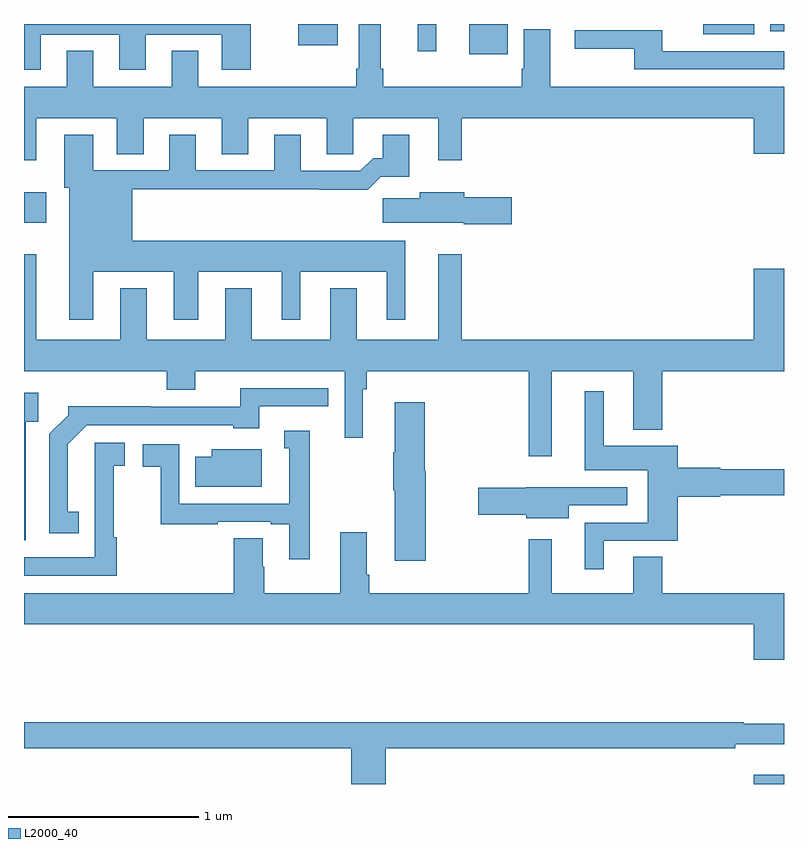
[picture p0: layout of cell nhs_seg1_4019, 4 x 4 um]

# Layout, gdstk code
import gdstk
lib = gdstk.Library(unit=1e-6, precision=1e-09)
def R(c, l, rs):  # rectangles x0, y0, x1, y1
    for r in rs: c.add(gdstk.rectangle(r[:2], r[2:], *l))
def P(c, l, *ps):  # polygons
    for p in ps: c.add(gdstk.Polygon(p, *l))
L2000_40 = (2000, 40)

nhs_seg1_4019 = lib.new_cell('nhs_seg1_4019')
R(nhs_seg1_4019, L2000_40, [(332.84,576.199,333,576.247), (329,579.152,329.116,579.313), (331.344,580.04,331.546,580.199), (331.073,580.056,331.171,580.199), (330.443,580.088,330.652,580.199), (332.576,580.145,332.843,580.199), (332.928,580.16,333,580.199)])
P(nhs_seg1_4019, L2000_40, [(329.089,580.143),(329.501,580.143),(329.501,579.957),(329.641,579.957),(329.641,580.143),(330.041,580.143),(330.041,579.957),(330.193,579.957),(330.193,580.199),(329,580.199),(329,579.957),(329.089,579.957)],
  [(329.065,579.704),(329.489,579.704),(329.489,579.514),(329.629,579.514),(329.629,579.704),(330.041,579.704),(330.041,579.514),(330.181,579.514),(330.181,579.704),(330.593,579.704),(330.593,579.514),(330.732,579.514),(330.732,579.704),(331.181,579.704),(331.181,579.483),(331.303,579.483),(331.303,579.704),(332.84,579.704),(332.84,579.516),(333,579.516),(333,579.868),(331.771,579.868),(331.771,580.172),(331.631,580.172),(331.631,579.964),(331.619,579.964),(331.619,579.868),(330.89,579.868),(330.89,579.964),(330.877,579.964),(330.877,580.199),(330.761,580.199),(330.761,579.964),(330.749,579.964),(330.749,579.868),(329.917,579.868),(329.917,580.058),(329.777,580.058),(329.777,579.868),(329.365,579.868),(329.365,580.058),(329.225,580.058),(329.225,579.868),(329,579.868),(329,579.483),(329.065,579.483)],
  [(333,580.056),(332.359,580.056),(332.359,580.167),(331.899,580.167),(331.899,580.07),(332.212,580.07),(332.212,579.96),(333,579.96)],
  [(329.365,578.894),(329.789,578.894),(329.789,578.643),(329.917,578.643),(329.917,578.894),(330.356,578.894),(330.356,578.643),(330.454,578.643),(330.454,578.894),(330.908,578.894),(330.908,578.643),(331.006,578.643),(331.006,579.058),(329.569,579.058),(329.569,579.328),(330.553,579.328),(330.553,579.326),(330.809,579.326),(330.878,579.395),(331.027,579.395),(331.027,579.616),(330.887,579.616),(330.887,579.493),(330.838,579.493),(330.771,579.426),(330.457,579.426),(330.457,579.616),(330.317,579.616),(330.317,579.429),(329.905,579.429),(329.905,579.616),(329.765,579.616),(329.765,579.429),(329.365,579.429),(329.365,579.616),(329.213,579.616),(329.213,579.336),(329.237,579.336),(329.237,578.643),(329.365,578.643)],
  [(331.567,579.288),(331.318,579.288),(331.318,579.313),(331.082,579.313),(331.082,579.281),(330.888,579.281),(330.888,579.152),(331.314,579.152),(331.314,579.146),(331.567,579.146)],
  [(331.777,578.372),(332.207,578.372),(332.207,578.063),(332.36,578.063),(332.36,578.372),(333,578.372),(333,578.911),(332.84,578.911),(332.84,578.536),(331.303,578.536),(331.303,578.986),(331.181,578.986),(331.181,578.536),(330.751,578.536),(330.751,578.809),(330.611,578.809),(330.611,578.536),(330.199,578.536),(330.199,578.809),(330.059,578.809),(330.059,578.536),(329.647,578.536),(329.647,578.809),(329.507,578.809),(329.507,578.536),(329.065,578.536),(329.065,578.986),(329,578.986),(329,578.372),(329.75,578.372),(329.75,578.273),(329.902,578.273),(329.902,578.372),(330.687,578.372),(330.687,578.022),(330.784,578.022),(330.784,578.276),(330.803,578.276),(330.803,578.372),(331.656,578.372),(331.656,577.923),(331.777,577.923)],
  [(329.288,577.631),(329.23,577.631),(329.23,577.987),(329.331,578.088),(330.102,578.088),(330.102,578.072),(330.238,578.072),(330.238,578.187),(330.602,578.187),(330.602,578.283),(330.139,578.283),(330.139,578.184),(329.666,578.184),(329.666,578.186),(329.232,578.186),(329.232,578.141),(329.133,578.042),(329.133,577.518),(329.288,577.518)],
  [(332.05,577.479),(332.441,577.479),(332.441,577.712),(332.664,577.712),(332.664,577.72),(333,577.72),(333,577.856),(332.664,577.856),(332.664,577.864),(332.441,577.864),(332.441,577.978),(332.05,577.978),(332.05,578.266),(331.952,578.266),(331.952,577.85),(332.282,577.85),(332.282,577.575),(331.952,577.575),(331.952,577.329),(332.05,577.329)],
  [(329.01,578.105),(329.075,578.105),(329.075,578.257),(329,578.257),(329,577.482),(329.01,577.482)],
  [(331.114,577.845),(331.109,577.845),(331.109,578.209),(330.95,578.209),(330.95,577.945),(330.943,577.945),(330.943,577.745),(330.95,577.745),(330.95,577.374),(331.114,577.374)],
  [(330.505,578.059),(330.371,578.059),(330.371,577.965),(330.395,577.965),(330.395,577.674),(329.817,577.674),(329.817,577.986),(329.625,577.986),(329.625,577.87),(329.719,577.87),(329.719,577.566),(330.02,577.566),(330.02,577.578),(330.299,577.578),(330.299,577.566),(330.395,577.566),(330.395,577.383),(330.505,577.383)],
  [(329.489,577.499),(329.472,577.499),(329.472,577.875),(329.53,577.875),(329.53,577.996),(329.372,577.996),(329.372,577.72),(329.373,577.72),(329.373,577.392),(329,577.392),(329,577.296),(329.489,577.296)],
  [(330.25,577.96),(329.987,577.96),(329.987,577.921),(329.902,577.921),(329.902,577.763),(330.25,577.763)],
  [(331.867,577.665),(332.176,577.665),(332.176,577.761),(331.863,577.761),(331.863,577.762),(331.644,577.762),(331.644,577.757),(331.392,577.757),(331.392,577.615),(331.644,577.615),(331.644,577.598),(331.867,577.598)],
  [(333,577.204),(332.36,577.204),(332.36,577.394),(332.207,577.394),(332.207,577.204),(331.777,577.204),(331.777,577.486),(331.656,577.486),(331.656,577.204),(330.818,577.204),(330.818,577.3),(330.805,577.3),(330.805,577.525),(330.665,577.525),(330.665,577.204),(330.264,577.204),(330.264,577.343),(330.256,577.343),(330.256,577.493),(330.104,577.493),(330.104,577.204),(329,577.204),(329,577.04),(332.84,577.04),(332.84,576.852),(333,576.852)],
  [(330.905,576.388),(332.744,576.388),(332.744,576.407),(333,576.407),(333,576.517),(332.788,576.517),(332.788,576.524),(329,576.524),(329,576.388),(330.722,576.388),(330.722,576.199),(330.905,576.199)])

lib.write_gds('nhs_seg1_4019.gds')
